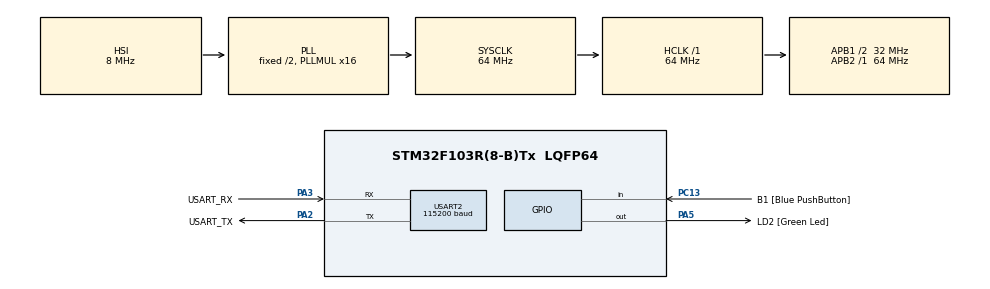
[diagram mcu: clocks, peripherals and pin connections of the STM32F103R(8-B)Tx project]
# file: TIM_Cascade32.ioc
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Mcu.Family=STM32F1
Mcu.Name=STM32F103R(8-B)Tx
Mcu.Package=LQFP64
NVIC.PriorityGroup=NVIC_PRIORITYGROUP_4
PA13.GPIO_Label=TMS
PA13.Mode=Serial_Wire
PA13.Signal=SYS_JTMS-SWDIO
PA14.GPIO_Label=TCK
PA14.Mode=Serial_Wire
PA14.Signal=SYS_JTCK-SWCLK
PA2.GPIO_Label=USART_TX
PA2.GPIO_Mode=GPIO_MODE_AF_PP
PA2.GPIO_PuPd=GPIO_NOPULL
PA2.GPIO_Speed=GPIO_SPEED_FREQ_LOW
PA2.Mode=Asynchronous
PA2.Signal=USART2_TX
PA3.GPIO_Label=USART_RX
PA3.GPIO_PuPd=GPIO_NOPULL
PA3.GPIO_Speed=GPIO_SPEED_FREQ_LOW
PA3.Mode=Asynchronous
PA3.Signal=USART2_RX
PA5.GPIO_Label=LD2 [Green Led]
PA5.GPIO_ModeDefaultOutputPP=GPIO_MODE_OUTPUT_PP
PA5.GPIO_PuPd=GPIO_NOPULL
PA5.GPIO_Speed=GPIO_SPEED_FREQ_LOW
PA5.Signal=GPIO_Output
PB3.GPIO_Label=SWO
PB3.Signal=SYS_JTDO-TRACESWO
PC13-TAMPER-RTC.GPIO_Label=B1 [Blue PushButton]
PC13-TAMPER-RTC.GPIO_PuPd=GPIO_NOPULL
PC13-TAMPER-RTC.Signal=GPIO_Input
PC14-OSC32_IN.Mode=LSE-External-Oscillator
PC14-OSC32_IN.Signal=RCC_OSC32_IN
PC15-OSC32_OUT.Mode=LSE-External-Oscillator
PC15-OSC32_OUT.Signal=RCC_OSC32_OUT
PD0-OSC_IN.Mode=HSE-External-Clock-Source
PD0-OSC_IN.Signal=RCC_OSC_IN
PD1-OSC_OUT.Mode=HSE-External-Clock-Source
PD1-OSC_OUT.Signal=RCC_OSC_OUT
ProjectManager.HeapSize=0x200
ProjectManager.StackSize=0x400
ProjectManager.TargetToolchain=STM32CubeIDE
RCC.AHBFreq_Value=64000000
RCC.APB1CLKDivider=RCC_HCLK_DIV2
RCC.APB1Freq_Value=32000000
RCC.APB1TimFreq_Value=64000000
RCC.APB2Freq_Value=64000000
RCC.APB2TimFreq_Value=64000000
RCC.HCLKFreq_Value=64000000
RCC.PLLMUL=RCC_PLL_MUL16
RCC.RTCClockSelection=RCC_RTCCLKSOURCE_LSE
RCC.SYSCLKFreq_VALUE=64000000
RCC.SYSCLKSource=RCC_SYSCLKSOURCE_PLLCLK
RCC.USBFreq_Value=64000000
TIM2.InputTrigger=TIM_TS_ITR2
TIM2.Period=65535
TIM2.SlaveMode=TIM_SLAVEMODE_EXTERNAL1
TIM3.Period=65535
TIM3.Prescaler=63
TIM3.TIM_MasterOutputTrigger=TIM_TRGO_UPDATE
USART2.BaudRate=115200
USART2.VirtualMode=VM_ASYNC
VP_TIM3_VS_ClockSourceINT.Mode=Internal
board=NUCLEO-F103RB

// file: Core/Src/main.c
/* USER CODE BEGIN Header */
/**
 ******************************************************************************
 * @file           : main.c
 * @brief          : Main program body
 ******************************************************************************
 * @attention
 *
 * Copyright (c) 2026 STMicroelectronics.
 * All rights reserved.
 *
 * This software is licensed under terms that can be found in the LICENSE file
 * in the root directory of this software component.
 * If no LICENSE file comes with this software, it is provided AS-IS.
 *
 ******************************************************************************
 */
/**
 * 05_TIM_Cascade32_HAL_c  —  [계층: HAL]  타이머 마스터/슬레이브 연결로 만든 32비트 카운터 (스톱워치 71분)
 *
 * F103 의 범용 타이머는 16비트라 1MHz(1us)로 세면 65.5ms 마다 넘친다. 타이머 두 개를 **연결**(cascade)하면 32비트가 된다.
 *
 * 구조 (RM0008 15.3.15 Timer synchronization)
 *   TIM3 = 마스터: PSC = 64-1 (1MHz), ARR = 0xFFFF. 넘칠 때(업데이트 이벤트) **TRGO 로 트리거 출력** (CR2.MMS = 010)
 *   TIM2 = 슬레이브: **외부 클럭 모드 1**(SMCR.SMS = 111)에서 트리거 입력 **ITR2**(= TIM3 의 TRGO, SMCR.TS = 010)를 클럭으로 사용
 *          -> TIM3 가 65536 번 세고 넘칠 때마다 TIM2 가 1 증가한다.
 *   32비트 값 = (TIM2->CNT << 16) | TIM3->CNT  -> 1us 분해능으로 최대 2^32 us = 약 71.6분.
 *   (TIM2 의 ITRx 매핑은 마스터 타이머에 따라 다르다: ITR0=TIM1, ITR1=TIM8(없음), ITR2=TIM3, ITR3=TIM4. RM0008 표 참고)
 *
 * 읽기 경합 주의: 두 카운터를 순서대로 읽는 사이 TIM3 가 넘치면 값이 튈 수 있다.
 *   -> 상위(TIM2)-하위(TIM3)-상위(TIM2) 순으로 읽어 상위가 바뀌었으면 다시 읽는다.
 *
 * 동작
 *   - 1초마다 32비트 시각(us)과 HAL_GetTick(ms)을 비교 출력 -> 거의 1,000,000us 씩 증가하는지 확인 (같은 64MHz 클럭 기반이라 오차 작음)
 *   - B1(PC13): 스톱워치. 첫 번째 누름 = 시작, 두 번째 누름 = 정지하고 경과 시간(us -> h:m:s.ms)을 출력, 세 번째 = 다시 시작
 *
 * 인터럽트를 사용하지 않는다.
 */
/* USER CODE END Header */
#include "main.h"

/* USER CODE BEGIN Includes */
#include <stdio.h>
#include <string.h>
/* USER CODE END Includes */

TIM_HandleTypeDef htim2;
TIM_HandleTypeDef htim3;
UART_HandleTypeDef huart2;

/* USER CODE BEGIN PV */
/* htim2 = 슬레이브(상위 16비트), htim3 = 마스터(하위 16비트) */
/* USER CODE END PV */

void SystemClock_Config(void);
static void MX_GPIO_Init(void);
static void MX_TIM2_Init(void);
static void MX_TIM3_Init(void);
static void MX_USART2_UART_Init(void);

/* USER CODE BEGIN 0 */
/* 32비트 마이크로초 카운터를 경합 없이 읽는다 */
static uint32_t micros32(void)
{
    uint32_t hi1, lo, hi2;
    do {
        hi1 = TIM2->CNT;
        lo  = TIM3->CNT;
        hi2 = TIM2->CNT;
    } while (hi1 != hi2);                   /* 읽는 도중 하위가 넘쳐 상위가 바뀌었으면 재시도 */
    return (hi2 << 16) | lo;
}
/* USER CODE END 0 */

int main(void)
{

  /* MCU Configuration--------------------------------------------------------*/

  /* Reset of all peripherals, Initializes the Flash interface and the Systick. */
  HAL_Init();

  /* Configure the system clock */
  SystemClock_Config();

  /* Initialize all configured peripherals */
  MX_GPIO_Init();
  MX_TIM2_Init();
  MX_TIM3_Init();
  MX_USART2_UART_Init();
  /* USER CODE BEGIN 2 */
  /* 슬레이브(TIM2)를 먼저 켜고(대기), 마스터(TIM3)를 켠다: TIM2->CR1.CEN, TIM3->CR1.CEN */
  if (HAL_TIM_Base_Start(&htim2) != HAL_OK) Error_Handler();
  if (HAL_TIM_Base_Start(&htim3) != HAL_OK) Error_Handler();

  char msg[96];
  uint32_t t_us0 = micros32(), t_ms0 = HAL_GetTick();
  uint32_t t_print = HAL_GetTick();
  int running = 0;
  uint32_t sw_start = 0;
  /* USER CODE END 2 */

  /* Infinite loop */
  while (1)
  {

    /* USER CODE BEGIN 3 */
    if (HAL_GetTick() - t_print >= 1000)
    {
        t_print += 1000;
        uint32_t us = micros32(), ms = HAL_GetTick();
        int n = snprintf(msg, sizeof msg, "micros32=%10lu (d=%lu us)  HAL tick=%lu ms (d=%lu ms)\r\n",
                         (unsigned long)us, (unsigned long)(us - t_us0), (unsigned long)ms, (unsigned long)(ms - t_ms0));
        HAL_UART_Transmit(&huart2, (uint8_t *)msg, (uint16_t)n, 100);
        t_us0 = us; t_ms0 = ms;
    }

    if (HAL_GPIO_ReadPin(B1_GPIO_Port, B1_Pin) == GPIO_PIN_RESET)   /* B1: 스톱워치 시작/정지 */
    {
        HAL_Delay(30);
        if (!running)
        {
            sw_start = micros32();
            running = 1;
            HAL_UART_Transmit(&huart2, (uint8_t *)"stopwatch: START\r\n", 18, 100);
        }
        else
        {
            uint32_t el = micros32() - sw_start;                  /* 부호 없는 뺄셈: 71분 래핑에도 안전 */
            running = 0;
            uint32_t ms = el / 1000UL, s = ms / 1000UL, m = s / 60UL;
            int n = snprintf(msg, sizeof msg, "stopwatch: STOP  %lu us  = %lu:%02lu.%03lu (m:s.ms)\r\n",
                             (unsigned long)el, (unsigned long)m, (unsigned long)(s % 60UL), (unsigned long)(ms % 1000UL));
            HAL_UART_Transmit(&huart2, (uint8_t *)msg, (uint16_t)n, 100);
        }
        while (HAL_GPIO_ReadPin(B1_GPIO_Port, B1_Pin) == GPIO_PIN_RESET) {}
        HAL_Delay(30);
    }
  }
  /* USER CODE END 3 */
}

void SystemClock_Config(void)
{
  RCC_OscInitTypeDef RCC_OscInitStruct = {0};
  RCC_ClkInitTypeDef RCC_ClkInitStruct = {0};

  /** Initializes the RCC Oscillators according to the specified parameters
  * in the RCC_OscInitTypeDef structure.
  */
  RCC_OscInitStruct.OscillatorType = RCC_OSCILLATORTYPE_HSI;
  RCC_OscInitStruct.HSIState = RCC_HSI_ON;
  RCC_OscInitStruct.HSICalibrationValue = RCC_HSICALIBRATION_DEFAULT;
  RCC_OscInitStruct.PLL.PLLState = RCC_PLL_ON;
  RCC_OscInitStruct.PLL.PLLSource = RCC_PLLSOURCE_HSI_DIV2;
  RCC_OscInitStruct.PLL.PLLMUL = RCC_PLL_MUL16;
  if (HAL_RCC_OscConfig(&RCC_OscInitStruct) != HAL_OK)
  {
    Error_Handler();
  }

  /** Initializes the CPU, AHB and APB buses clocks
  */
  RCC_ClkInitStruct.ClockType = RCC_CLOCKTYPE_HCLK|RCC_CLOCKTYPE_SYSCLK
                              |RCC_CLOCKTYPE_PCLK1|RCC_CLOCKTYPE_PCLK2;
  RCC_ClkInitStruct.SYSCLKSource = RCC_SYSCLKSOURCE_PLLCLK;
  RCC_ClkInitStruct.AHBCLKDivider = RCC_SYSCLK_DIV1;
  RCC_ClkInitStruct.APB1CLKDivider = RCC_HCLK_DIV2;
  RCC_ClkInitStruct.APB2CLKDivider = RCC_HCLK_DIV1;

  if (HAL_RCC_ClockConfig(&RCC_ClkInitStruct, FLASH_LATENCY_2) != HAL_OK)
  {
    Error_Handler();
  }
}

static void MX_TIM2_Init(void)
{

  TIM_SlaveConfigTypeDef sSlaveConfig = {0};
  TIM_MasterConfigTypeDef sMasterConfig = {0};

  htim2.Instance = TIM2;
  htim2.Init.Prescaler = 0;
  htim2.Init.CounterMode = TIM_COUNTERMODE_UP;
  htim2.Init.Period = 65535;
  htim2.Init.ClockDivision = TIM_CLOCKDIVISION_DIV1;
  htim2.Init.AutoReloadPreload = TIM_AUTORELOAD_PRELOAD_DISABLE;
  if (HAL_TIM_Base_Init(&htim2) != HAL_OK)
  {
    Error_Handler();
  }
  sSlaveConfig.SlaveMode = TIM_SLAVEMODE_EXTERNAL1;
  sSlaveConfig.InputTrigger = TIM_TS_ITR2;
  if (HAL_TIM_SlaveConfigSynchro(&htim2, &sSlaveConfig) != HAL_OK)
  {
    Error_Handler();
  }
  sMasterConfig.MasterOutputTrigger = TIM_TRGO_RESET;
  sMasterConfig.MasterSlaveMode = TIM_MASTERSLAVEMODE_DISABLE;
  if (HAL_TIMEx_MasterConfigSynchronization(&htim2, &sMasterConfig) != HAL_OK)
  {
    Error_Handler();
  }
  /* USER CODE BEGIN TIM2_Init 2 */
  /* [슬레이브 TIM2 -- 레지스터 관점] 상위 16비트 카운터. 자체 분주 없음(PSC=0), ARR=0xFFFF
   *  TIM2->SMCR.SMS = 111 (외부 클럭 모드 1), SMCR.TS = 010 (트리거 입력 ITR2 = TIM3 의 TRGO)
   *  -> TIM3 가 65536 번 세고 넘칠 때마다 TIM2 가 1 증가한다.
   *  (TIM2 의 ITRx 매핑: ITR0=TIM1, ITR1=TIM8(없음), ITR2=TIM3, ITR3=TIM4. RM0008 표 참고) */
  /* USER CODE END TIM2_Init 2 */

}

static void MX_TIM3_Init(void)
{

  TIM_ClockConfigTypeDef sClockSourceConfig = {0};
  TIM_MasterConfigTypeDef sMasterConfig = {0};

  htim3.Instance = TIM3;
  htim3.Init.Prescaler = 63;
  htim3.Init.CounterMode = TIM_COUNTERMODE_UP;
  htim3.Init.Period = 65535;
  htim3.Init.ClockDivision = TIM_CLOCKDIVISION_DIV1;
  htim3.Init.AutoReloadPreload = TIM_AUTORELOAD_PRELOAD_DISABLE;
  if (HAL_TIM_Base_Init(&htim3) != HAL_OK)
  {
    Error_Handler();
  }
  sClockSourceConfig.ClockSource = TIM_CLOCKSOURCE_INTERNAL;
  if (HAL_TIM_ConfigClockSource(&htim3, &sClockSourceConfig) != HAL_OK)
  {
    Error_Handler();
  }
  sMasterConfig.MasterOutputTrigger = TIM_TRGO_UPDATE;
  sMasterConfig.MasterSlaveMode = TIM_MASTERSLAVEMODE_DISABLE;
  if (HAL_TIMEx_MasterConfigSynchronization(&htim3, &sMasterConfig) != HAL_OK)
  {
    Error_Handler();
  }
  /* USER CODE BEGIN TIM3_Init 2 */
  /* [마스터 TIM3 -- 레지스터 관점] 하위 16비트 카운터. PSC=63 (64MHz/64 = 1MHz = 1us), ARR=0xFFFF
   *  TIM3->CR2.MMS = 010 : 업데이트 이벤트(넘침)를 TRGO 로 출력 -> 슬레이브 TIM2 의 클럭 */
  /* USER CODE END TIM3_Init 2 */

}

static void MX_USART2_UART_Init(void)
{

  huart2.Instance = USART2;
  huart2.Init.BaudRate = 115200;
  huart2.Init.WordLength = UART_WORDLENGTH_8B;
  huart2.Init.StopBits = UART_STOPBITS_1;
  huart2.Init.Parity = UART_PARITY_NONE;
  huart2.Init.Mode = UART_MODE_TX_RX;
  huart2.Init.HwFlowCtl = UART_HWCONTROL_NONE;
  huart2.Init.OverSampling = UART_OVERSAMPLING_16;
  if (HAL_UART_Init(&huart2) != HAL_OK)
  {
    Error_Handler();
  }

}

static void MX_GPIO_Init(void)
{
  GPIO_InitTypeDef GPIO_InitStruct = {0};

  /* GPIO Ports Clock Enable */
  __HAL_RCC_GPIOC_CLK_ENABLE();
  __HAL_RCC_GPIOD_CLK_ENABLE();
  __HAL_RCC_GPIOA_CLK_ENABLE();
  __HAL_RCC_GPIOB_CLK_ENABLE();

  /*Configure GPIO pin Output Level */
  HAL_GPIO_WritePin(LD2_GPIO_Port, LD2_Pin, GPIO_PIN_RESET);

  /*Configure GPIO pin : B1_Pin */
  GPIO_InitStruct.Pin = B1_Pin;
  GPIO_InitStruct.Mode = GPIO_MODE_INPUT;
  GPIO_InitStruct.Pull = GPIO_NOPULL;
  HAL_GPIO_Init(B1_GPIO_Port, &GPIO_InitStruct);

  /*Configure GPIO pin : LD2_Pin */
  GPIO_InitStruct.Pin = LD2_Pin;
  GPIO_InitStruct.Mode = GPIO_MODE_OUTPUT_PP;
  GPIO_InitStruct.Pull = GPIO_NOPULL;
  GPIO_InitStruct.Speed = GPIO_SPEED_FREQ_LOW;
  HAL_GPIO_Init(LD2_GPIO_Port, &GPIO_InitStruct);

}

void Error_Handler(void)
{
  __disable_irq();
  while (1) {
  }
}
#ifdef USE_FULL_ASSERT
/**
  * @brief  Reports the name of the source file and the source line number
  *         where the assert_param error has occurred.
  * @param  file: pointer to the source file name
  * @param  line: assert_param error line source number
  * @retval None
  */
void assert_failed(uint8_t *file, uint32_t line)
{
  /* USER CODE BEGIN 6 */
  /* User can add his own implementation to report the file name and line
     number, ex: printf("Wrong parameters value: file %s on line %d\r\n", file,
     line) */
  /* USER CODE END 6 */
}
#endif /* USE_FULL_ASSERT */
